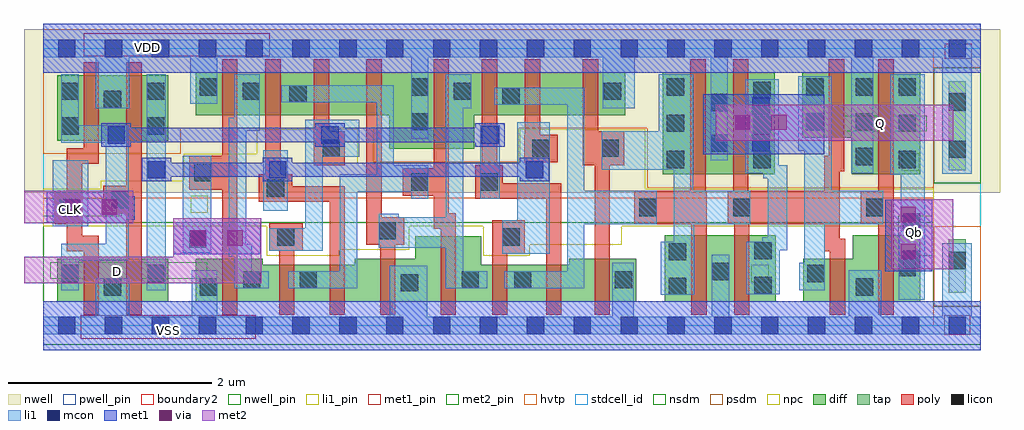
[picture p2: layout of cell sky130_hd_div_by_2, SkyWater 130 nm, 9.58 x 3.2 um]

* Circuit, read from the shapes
.subckt sky130_hd_div_by_2 CLK D Q Qb VDD VSS
XM1 VSS CLK n1 VSS sky130_fd_pr__nfet_01v8 w=0.42 l=0.15
XM2 n2 n1 VSS VSS sky130_fd_pr__nfet_01v8 w=0.42 l=0.15
XM3 n3 D VSS VSS sky130_fd_pr__nfet_01v8 w=0.42 l=0.15
XM4 n4 n1 n3 VSS sky130_fd_pr__nfet_01v8 w=0.36 l=0.15
XM5 n5 n2 n4 VSS sky130_fd_pr__nfet_01v8 w=0.36 l=0.15
XM6 VSS n6 n5 VSS sky130_fd_pr__nfet_01v8 w=0.42 l=0.15
XM7 n6 n4 VSS VSS sky130_fd_pr__nfet_01v8 w=0.64 l=0.15
XM8 n7 n2 n6 VSS sky130_fd_pr__nfet_01v8 w=0.36 l=0.15
XM9 n8 n1 n7 VSS sky130_fd_pr__nfet_01v8 w=0.36 l=0.15
XM10 VSS n9 n8 VSS sky130_fd_pr__nfet_01v8 w=0.42 l=0.15
XM11 VSS n7 n9 VSS sky130_fd_pr__nfet_01v8 w=0.65 l=0.15
XM12 Q n9 VSS VSS sky130_fd_pr__nfet_01v8 w=0.65 l=0.15
XM13 VSS n9 n10 VSS sky130_fd_pr__nfet_01v8 w=0.42 l=0.15
XM14 Qb n10 VSS VSS sky130_fd_pr__nfet_01v8 w=0.65 l=0.15
XM15 VDD CLK n1 VDD sky130_fd_pr__pfet_01v8_hvt w=0.64 l=0.15
XM16 n2 n1 VDD VDD sky130_fd_pr__pfet_01v8_hvt w=0.64 l=0.15
XM17 n3 D VDD VDD sky130_fd_pr__pfet_01v8_hvt w=0.42 l=0.15
XM18 n4 n2 n3 VDD sky130_fd_pr__pfet_01v8_hvt w=0.42 l=0.15
XM19 n11 n1 n4 VDD sky130_fd_pr__pfet_01v8_hvt w=0.42 l=0.15
XM20 VDD n6 n11 VDD sky130_fd_pr__pfet_01v8_hvt w=0.42 l=0.15
XM21 n6 n4 VDD VDD sky130_fd_pr__pfet_01v8_hvt w=0.75 l=0.15
XM22 n7 n1 n6 VDD sky130_fd_pr__pfet_01v8_hvt w=0.42 l=0.15
XM23 n12 n2 n7 VDD sky130_fd_pr__pfet_01v8_hvt w=0.42 l=0.15
XM24 VDD n9 n12 VDD sky130_fd_pr__pfet_01v8_hvt w=0.42 l=0.15
XM25 VDD n7 n9 VDD sky130_fd_pr__pfet_01v8_hvt w=1 l=0.15
XM26 Q n9 VDD VDD sky130_fd_pr__pfet_01v8_hvt w=1 l=0.15
XM27 VDD n9 n10 VDD sky130_fd_pr__pfet_01v8_hvt w=0.64 l=0.15
XM28 Qb n10 VDD VDD sky130_fd_pr__pfet_01v8_hvt w=1 l=0.15
.ends

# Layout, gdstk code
import gdstk
lib = gdstk.Library(unit=1e-6, precision=1e-09)
def R(c, l, rs):  # rectangles x0, y0, x1, y1
    for r in rs: c.add(gdstk.rectangle(r[:2], r[2:], *l))
def A(c, l, x, y, w, h, nx, ny, dx, dy):  # array of equal rectangles
    R(c, l, [(x+i*dx, y+j*dy, x+i*dx+w, y+j*dy+h) for i in range(nx) for j in range(ny)])
def P(c, l, *ps):  # polygons
    for p in ps: c.add(gdstk.Polygon(p, *l))
nwell_pin = (64, 16)
nwell = (64, 20)
diff = (65, 20)
tap = (65, 44)
poly = (66, 20)
licon = (66, 44)
li1_pin = (67, 16)
li1 = (67, 20)
mcon = (67, 44)
met1_pin = (68, 16)
met1 = (68, 20)
via = (68, 44)
met2_pin = (69, 16)
met2 = (69, 20)
hvtp = (78, 44)
stdcell_id = (81, 4)
nsdm = (93, 44)
psdm = (94, 20)
npc = (95, 20)
pwell_pin = (122, 16)
boundary2 = (236, 0)

sky130_hd_tapvpwrvgnd_1 = lib.new_cell('sky130_hd_tapvpwrvgnd_1')
R(sky130_hd_tapvpwrvgnd_1, nwell, [(-0.19,1.305,0.65,2.91)])
R(sky130_hd_tapvpwrvgnd_1, tap, [(0.145,0.32,0.315,0.845), (0.145,1.525,0.315,2.4)])
R(sky130_hd_tapvpwrvgnd_1, licon, [(0.145,0.555,0.315,0.725), (0.145,1.645,0.315,1.815), (0.145,2.11,0.315,2.28)])
R(sky130_hd_tapvpwrvgnd_1, li1, [(0,-0.085,0.46,0.085), (0.085,0,0.375,0.81), (0.085,1.49,0.375,2.72), (0,2.635,0.46,2.805)])
R(sky130_hd_tapvpwrvgnd_1, mcon, [(0.145,-0.085,0.315,0.085), (0.145,2.635,0.315,2.805)])
R(sky130_hd_tapvpwrvgnd_1, met1_pin, [(0.105,-0.09,0.36,0.1), (0.11,2.62,0.375,2.765)])
R(sky130_hd_tapvpwrvgnd_1, met1, [(0,-0.24,0.46,0.24), (0,2.48,0.46,2.96)])
R(sky130_hd_tapvpwrvgnd_1, stdcell_id, [(0,0,0.46,2.72)])
R(sky130_hd_tapvpwrvgnd_1, nsdm, [(0,-0.19,0.46,0.19), (0,1.395,0.46,2.53)])
R(sky130_hd_tapvpwrvgnd_1, psdm, [(0,0.19,0.46,0.975), (0,2.53,0.46,2.91)])
sky130_hd_tapvpwrvgnd_1.add(gdstk.Label('VPWR', (0.23,2.72), layer=68, texttype=5))
sky130_hd_tapvpwrvgnd_1.add(gdstk.Label('VGND', (0.23,0), layer=68, texttype=5))

sky130_hd_dfxbp_1 = lib.new_cell('sky130_hd_dfxbp_1')
R(sky130_hd_dfxbp_1, nwell_pin, [(0.145,2.635,0.315,2.805), (0.145,2.635,0.315,2.805)])
R(sky130_hd_dfxbp_1, nwell, [(-0.19,1.305,8.93,2.91)])
R(sky130_hd_dfxbp_1, diff, [(0.135,0.235,1.225,0.655), (6.1,0.235,7.19,0.885), (6.08,1.485,7.18,2.485), (0.135,1.815,1.225,2.455)])
P(sky130_hd_dfxbp_1, diff, [(7.46,0.235),(7.46,0.655),(7.945,0.655),(7.945,0.885),(8.605,0.885),(8.605,0.235)],
  [(7.935,1.485),(7.935,1.845),(7.45,1.845),(7.45,2.485),(8.605,2.485),(8.605,1.485)],
  [(1.495,0.235),(1.495,0.655),(2.155,0.655),(2.155,0.595),(3.055,0.595),(3.055,0.655),(3.65,0.655),(3.65,0.875),(4.3,0.875),(4.3,0.595),(5.16,0.595),(5.16,0.655),(5.82,0.655),(5.82,0.235)],
  [(3.395,1.735),(3.395,2.065),(1.495,2.065),(1.495,2.485),(5.71,2.485),(5.71,2.065),(4.23,2.065),(4.23,1.735)])
P(sky130_hd_dfxbp_1, poly, [(0.815,0.105),(0.815,1.1),(0.59,1.1),(0.59,1.37),(0.815,1.37),(0.815,2.585),(0.965,2.585),(0.965,0.105)],
  [(1.755,0.105),(1.755,1.335),(1.43,1.335),(1.43,1.665),(1.755,1.665),(1.755,2.615),(1.905,2.615),(1.905,0.105)],
  [(4.935,0.105),(4.935,1.245),(4.24,1.245),(4.24,1.575),(4.305,1.575),(4.305,2.615),(4.455,2.615),(4.455,1.575),(4.51,1.575),(4.51,1.395),(5.085,1.395),(5.085,0.105)],
  [(0.395,0.105),(0.395,0.73),(0.23,0.73),(0.23,0.995),(0.11,0.995),(0.11,1.325),(0.23,1.325),(0.23,1.74),(0.395,1.74),(0.395,2.585),(0.545,2.585),(0.545,1.59),(0.38,1.59),(0.38,0.88),(0.545,0.88),(0.545,0.105)],
  [(4.405,0.105),(4.405,1.035),(4.725,1.035),(4.725,0.705),(4.555,0.705),(4.555,0.105)],
  [(2.655,1.575),(2.655,2.615),(2.805,2.615),(2.805,1.905),(2.96,1.905),(2.96,1.575)],
  [(3.9,0.105),(3.9,0.95),(3.83,0.95),(3.83,1.275),(3.53,1.275),(3.53,1.545),(3.83,1.545),(3.83,2.615),(3.98,2.615),(3.98,1.1),(4.05,1.1),(4.05,0.105)],
  [(5.41,0.105),(5.41,1.575),(5.295,1.575),(5.295,2.615),(5.445,2.615),(5.445,1.905),(5.7,1.905),(5.7,1.575),(5.56,1.575),(5.56,0.105)],
  [(2.81,0.105),(2.81,1.215),(2.115,1.215),(2.115,1.485),(2.18,1.485),(2.18,2.615),(2.33,2.615),(2.33,1.485),(2.445,1.485),(2.445,1.365),(2.96,1.365),(2.96,0.105)],
  [(4.72,1.605),(4.72,1.875),(4.725,1.875),(4.725,2.615),(4.875,2.615),(4.875,1.875),(5.05,1.875),(5.05,1.605)],
  [(3.305,0.105),(3.305,0.795),(3.17,0.795),(3.17,2.615),(3.32,2.615),(3.32,1.065),(3.54,1.065),(3.54,0.795),(3.455,0.795),(3.455,0.105)],
  [(2.315,0.105),(2.315,0.735),(2.215,0.735),(2.215,1.005),(2.545,1.005),(2.545,0.735),(2.465,0.735),(2.465,0.105)],
  [(6.36,0.105),(6.36,0.995),(5.8,0.995),(5.8,1.325),(6.35,1.325),(6.35,2.615),(6.5,2.615),(6.5,1.325),(6.51,1.325),(6.51,0.105)],
  [(8.195,0.105),(8.195,0.995),(8.025,0.995),(8.025,1.325),(8.195,1.325),(8.195,2.615),(8.345,2.615),(8.345,0.105)],
  [(6.78,0.105),(6.78,0.995),(6.72,0.995),(6.72,1.325),(6.77,1.325),(6.77,2.615),(6.92,2.615),(6.92,1.325),(7.665,1.325),(7.665,1.665),(7.71,1.665),(7.71,2.615),(7.86,2.615),(7.86,1.515),(7.815,1.515),(7.815,0.85),(7.87,0.85),(7.87,0.105),(7.72,0.105),(7.72,0.73),(7.665,0.73),(7.665,0.995),(6.93,0.995),(6.93,0.105)])
A(sky130_hd_dfxbp_1, licon, 6.12, 1.545, 0.17, 0.17, 1, 3, 0, 0.355)
A(sky130_hd_dfxbp_1, licon, 6.97, 1.545, 0.17, 0.17, 1, 3, 0, 0.34)
A(sky130_hd_dfxbp_1, licon, 8.395, 1.545, 0.17, 0.17, 1, 3, 0, 0.355)
A(sky130_hd_dfxbp_1, licon, 7.975, 1.575, 0.17, 0.17, 1, 3, 0, 0.34)
R(sky130_hd_dfxbp_1, licon, [(0.595,0.295,0.765,0.465), (1.535,0.295,1.705,0.465), (7.975,0.295,8.145,0.465), (6.14,0.3,6.31,0.47), (6.98,0.31,7.15,0.48), (3.51,0.335,3.68,0.505), (1.96,0.365,2.13,0.535), (2.515,0.365,2.685,0.535), (4.105,0.365,4.275,0.535), (4.62,0.365,4.79,0.535), (5.61,0.365,5.78,0.535), (0.175,0.425,0.345,0.595), (1.015,0.425,1.185,0.595), (7.5,0.425,7.67,0.595), (6.56,0.445,6.73,0.615), (8.395,0.485,8.565,0.655), (6.14,0.64,6.31,0.81), (6.98,0.65,7.15,0.82), (2.295,0.785,2.465,0.955), (4.505,0.785,4.675,0.955), (3.29,0.845,3.46,1.015), (0.16,1.075,0.33,1.245), (5.85,1.075,6.02,1.245), (6.77,1.075,6.94,1.245), (8.075,1.075,8.245,1.245), (0.67,1.15,0.84,1.32), (2.195,1.265,2.365,1.435), (3.61,1.325,3.78,1.495), (4.29,1.325,4.46,1.495), (1.48,1.415,1.65,1.585), (2.74,1.655,2.91,1.825), (4.8,1.655,4.97,1.825), (5.48,1.655,5.65,1.825), (6.55,1.705,6.72,1.875), (0.175,1.875,0.345,2.045), (1.015,1.875,1.185,2.045), (3.61,1.915,3.78,2.085), (7.49,1.915,7.66,2.085), (6.55,2.105,6.72,2.275), (0.595,2.135,0.765,2.305), (4.505,2.165,4.675,2.335), (2.415,2.19,2.585,2.36), (0.175,2.215,0.345,2.385), (1.015,2.215,1.185,2.385), (1.955,2.215,2.125,2.385), (4.03,2.215,4.2,2.385), (5.5,2.215,5.67,2.385), (1.535,2.255,1.705,2.425), (3.61,2.255,3.78,2.425), (7.49,2.255,7.66,2.425)])
R(sky130_hd_dfxbp_1, li1_pin, [(6.95,0.425,7.12,0.595), (0.145,1.105,0.315,1.275), (1.445,1.105,1.615,1.275), (8.425,1.52,8.595,1.69)])
R(sky130_hd_dfxbp_1, li1, [(1.015,0.345,1.2,2.465), (1.37,0.715,1.65,1.665), (0.09,0.975,0.44,1.625), (2.16,1.125,2.4,1.72), (4.29,1.245,4.48,1.965)])
P(sky130_hd_dfxbp_1, li1, [(7.93,1.495),(7.93,2.635),(6.72,2.635),(6.72,1.625),(6.55,1.625),(6.55,2.635),(5.805,2.635),(5.805,2.135),(5.49,2.135),(5.49,2.635),(3.78,2.635),(3.78,1.835),(3.61,1.835),(3.61,2.635),(1.705,2.635),(1.705,2.175),(1.44,2.175),(1.44,2.635),(0.845,2.635),(0.845,2.135),(0.515,2.135),(0.515,2.635),(0,2.635),(0,2.805),(8.74,2.805),(8.74,2.635),(8.145,2.635),(8.145,1.495)],
  [(6.06,0.3),(6.06,0.825),(6.19,0.825),(6.19,1.53),(5.48,1.53),(5.48,1.905),(6.04,1.905),(6.04,2.465),(6.38,2.465),(6.38,1.325),(6.94,1.325),(6.94,0.995),(6.39,0.995),(6.39,0.3)],
  [(4.525,0.365),(4.525,0.535),(5.14,0.535),(5.14,2.165),(4.425,2.165),(4.425,2.335),(5.31,2.335),(5.31,1.325),(6.02,1.325),(6.02,0.995),(5.31,0.995),(5.31,0.365)],
  [(0,-0.085),(0,0.085),(0.515,0.085),(0.515,0.465),(0.845,0.465),(0.845,0.085),(1.455,0.085),(1.455,0.545),(1.705,0.545),(1.705,0.085),(3.4,0.085),(3.4,0.585),(3.77,0.585),(3.77,0.085),(5.585,0.085),(5.585,0.615),(5.795,0.615),(5.795,0.085),(6.56,0.085),(6.56,0.695),(6.73,0.695),(6.73,0.085),(7.905,0.085),(7.905,0.545),(8.225,0.545),(8.225,0.085),(8.74,0.085),(8.74,-0.085)],
  [(4.505,0.705),(4.505,1.035),(4.65,1.035),(4.65,1.995),(4.97,1.995),(4.97,0.705)],
  [(8.395,0.255),(8.395,0.91),(8.415,0.91),(8.415,1.48),(8.315,1.48),(8.315,2.465),(8.65,2.465),(8.65,0.255)],
  [(7.42,0.345),(7.42,0.615),(7.47,0.615),(7.47,1.715),(7.41,1.715),(7.41,2.445),(7.74,2.445),(7.74,1.325),(8.245,1.325),(8.245,0.995),(7.67,0.995),(7.67,0.345)],
  [(3.95,0.365),(3.95,0.765),(3.29,0.765),(3.29,1.095),(3.49,1.095),(3.49,1.065),(3.95,1.065),(3.95,2.465),(4.2,2.465),(4.2,2.135),(4.12,2.135),(4.12,0.535),(4.355,0.535),(4.355,0.365)],
  [(2.405,0.365),(2.405,0.535),(2.91,0.535),(2.91,1.485),(3.27,1.485),(3.27,2.19),(2.335,2.19),(2.335,2.36),(3.44,2.36),(3.44,1.575),(3.78,1.575),(3.78,1.245),(3.61,1.245),(3.61,1.315),(3.08,1.315),(3.08,0.365)],
  [(6.9,0.305),(6.9,0.825),(7.055,0.825),(7.055,0.865),(7.11,0.865),(7.11,1.445),(7.065,1.445),(7.065,1.495),(6.89,1.495),(6.89,2.42),(7.22,2.42),(7.22,1.575),(7.3,1.575),(7.3,0.74),(7.23,0.74),(7.23,0.305)],
  [(2.215,0.735),(2.215,0.955),(2.57,0.955),(2.57,2.02),(3.1,2.02),(3.1,1.655),(2.74,1.655),(2.74,0.735)],
  [(1.875,0.365),(1.875,0.675),(1.82,0.675),(1.82,2.04),(1.875,2.04),(1.875,2.465),(2.125,2.465),(2.125,1.91),(1.99,1.91),(1.99,0.805),(2.045,0.805),(2.045,0.535),(2.21,0.535),(2.21,0.365)],
  [(0.175,0.345),(0.175,0.805),(0.61,0.805),(0.61,1.795),(0.175,1.795),(0.175,2.465),(0.345,2.465),(0.345,1.965),(0.84,1.965),(0.84,0.635),(0.345,0.635),(0.345,0.345)])
A(sky130_hd_dfxbp_1, mcon, 0.145, -0.085, 0.17, 0.17, 19, 2, 0.46, 2.72)
R(sky130_hd_dfxbp_1, mcon, [(1.025,1.445,1.195,1.615), (2.215,1.445,2.385,1.615), (4.735,1.445,4.905,1.615), (0.63,1.785,0.8,1.955), (2.73,1.785,2.9,1.955), (4.3,1.785,4.47,1.955)])
R(sky130_hd_dfxbp_1, met1_pin, [(0.145,-0.085,0.315,0.085), (0.145,2.635,0.315,2.805)])
P(sky130_hd_dfxbp_1, met1, [(0.57,1.755),(0.57,1.985),(0.86,1.985),(0.86,1.94),(2.67,1.94),(2.67,1.985),(2.96,1.985),(2.96,1.94),(4.24,1.94),(4.24,1.985),(4.53,1.985),(4.53,1.755),(4.24,1.755),(4.24,1.8),(2.96,1.8),(2.96,1.755),(2.67,1.755),(2.67,1.8),(0.86,1.8),(0.86,1.755)],
  [(0.965,1.415),(0.965,1.645),(1.255,1.645),(1.255,1.6),(2.155,1.6),(2.155,1.645),(2.445,1.645),(2.445,1.6),(4.675,1.6),(4.675,1.645),(4.965,1.645),(4.965,1.415),(4.675,1.415),(4.675,1.46),(2.445,1.46),(2.445,1.415),(2.155,1.415),(2.155,1.46),(1.255,1.46),(1.255,1.415)])
R(sky130_hd_dfxbp_1, hvtp, [(0,1.25,8.74,2.72)])
R(sky130_hd_dfxbp_1, stdcell_id, [(0,0,8.74,2.72)])
R(sky130_hd_dfxbp_1, nsdm, [(0,-0.19,8.74,1.015)])
P(sky130_hd_dfxbp_1, psdm, [(5.93,1.355),(5.93,1.935),(4.665,1.935),(4.665,1.605),(3.24,1.605),(3.24,1.935),(1.35,1.935),(1.35,1.685),(0,1.685),(0,2.91),(8.74,2.91),(8.74,1.355)])
P(sky130_hd_dfxbp_1, npc, [(2.195,0.685),(2.195,0.975),(0,0.975),(0,1.345),(0.565,1.345),(0.565,1.42),(1.38,1.42),(1.38,1.685),(2.095,1.685),(2.095,1.925),(3.085,1.925),(3.085,1.595),(4.675,1.595),(4.675,1.925),(5.91,1.925),(5.91,1.345),(8.74,1.345),(8.74,0.975),(5.675,0.975),(5.675,0.795),(4.775,0.795),(4.775,0.685),(4.32,0.685),(4.32,0.975),(3.59,0.975),(3.59,0.745),(2.905,0.745),(2.905,0.685)])
R(sky130_hd_dfxbp_1, pwell_pin, [(0.145,-0.085,0.315,0.085), (0.145,-0.085,0.315,0.085)])
R(sky130_hd_dfxbp_1, boundary2, [(0,0,8.74,2.72)])
sky130_hd_dfxbp_1.add(gdstk.FlexPath([(0,0),(8.74,0)], 0.48, ends="flush", simple_path=True, layer=68, datatype=20))  # met1
sky130_hd_dfxbp_1.add(gdstk.FlexPath([(0,2.72),(8.74,2.72)], 0.48, ends="flush", simple_path=True, layer=68, datatype=20))  # met1
sky130_hd_dfxbp_1.add(gdstk.Label('VPWR', (0.23,2.72), layer=68, texttype=5))
sky130_hd_dfxbp_1.add(gdstk.Label('VGND', (0.23,0), layer=68, texttype=5))
sky130_hd_dfxbp_1.add(gdstk.Label('Q', (7.035,0.51), layer=67, texttype=5))
sky130_hd_dfxbp_1.add(gdstk.Label('CLK', (0.23,1.19), layer=67, texttype=5))
sky130_hd_dfxbp_1.add(gdstk.Label('D', (1.535,1.19), layer=67, texttype=5))
sky130_hd_dfxbp_1.add(gdstk.Label('Q_N', (8.52,1.61), layer=67, texttype=5))
sky130_hd_dfxbp_1.add(gdstk.Label('VNB', (0.23,0), layer=64, texttype=59))
sky130_hd_dfxbp_1.add(gdstk.Label('VNB', (0.23,0), layer=64, texttype=59))
sky130_hd_dfxbp_1.add(gdstk.Label('VPB', (0.23,2.72), layer=64, texttype=5))
sky130_hd_dfxbp_1.add(gdstk.Label('VPB', (0.23,2.72), layer=64, texttype=5))
sky130_hd_dfxbp_1.add(gdstk.Label('dfxbp_1', (0,0), layer=83, texttype=44))

sky130_hd_div_by_2 = lib.new_cell('sky130_hd_div_by_2')
R(sky130_hd_div_by_2, mcon, [(7.385,0.355,7.555,0.525), (0.38,0.555,0.55,0.725), (7.385,0.72,7.555,0.89), (-0.86,0.86,-0.69,1.03), (5.91,1.5,6.08,1.67), (5.91,1.86,6.08,2.03)])
R(sky130_hd_div_by_2, met1_pin, [(-0.685,-0.34,1.035,-0.11), (-0.655,2.435,1.17,2.66)])
R(sky130_hd_div_by_2, met1, [(7.215,0.325,7.675,0.34), (0.225,0.49,1.085,0.805), (7.215,0.54,7.675,1.025), (-1.015,0.795,-0.235,1.1), (5.425,1.7,6.615,1.85), (5.425,2.045,6.615,2.06)])
R(sky130_hd_div_by_2, via, [(7.365,0.445,7.515,0.595), (0.395,0.575,0.545,0.725), (0.755,0.575,0.905,0.725), (7.365,0.805,7.515,0.955), (-0.835,0.88,-0.685,1.03), (-0.475,0.88,-0.325,1.03), (5.735,1.71,5.885,1.86), (6.095,1.71,6.245,1.86)])
R(sky130_hd_div_by_2, met2_pin, [(-0.98,0.25,0.56,0.41), (7.34,0.475,7.675,0.87), (-1.05,0.865,-0.28,1.04), (6.78,1.695,7.62,1.85)])
R(sky130_hd_div_by_2, met2, [(-1.24,0.205,1.09,0.465), (7.275,0.345,7.88,1.03), (0.225,0.465,1.09,0.575), (0.225,0.575,1.09,0.845), (-1.24,0.795,-0.17,1.115), (5.55,1.605,7.88,1.955)])
sky130_hd_div_by_2.add(gdstk.FlexPath([(5.425,1.585),(6.615,1.585)], 0.23, ends="flush", simple_path=True, layer=68, datatype=20))  # met1
sky130_hd_div_by_2.add(gdstk.FlexPath([(5.425,1.945),(6.615,1.945)], 0.2, ends="flush", simple_path=True, layer=68, datatype=20))  # met1
sky130_hd_div_by_2.add(gdstk.FlexPath([(7.215,0.44),(7.675,0.44)], 0.2, ends="flush", simple_path=True, layer=68, datatype=20))  # met1
sky130_hd_div_by_2.add(gdstk.FlexPath([(0.225,0.64),(1.085,0.64)], 0.23, ends="flush", simple_path=True, layer=68, datatype=20))  # met1
sky130_hd_div_by_2.add(gdstk.FlexPath([(-1.015,0.945),(-0.155,0.945)], 0.23, ends="flush", simple_path=True, layer=68, datatype=20))  # met1
sky130_hd_div_by_2.add(gdstk.Reference(sky130_hd_tapvpwrvgnd_1, (7.69,-0.21)))
sky130_hd_div_by_2.add(gdstk.Reference(sky130_hd_dfxbp_1, (-1.05,-0.21)))
sky130_hd_div_by_2.add(gdstk.Label('VSS', (0.175,-0.255), layer=68, texttype=5))
sky130_hd_div_by_2.add(gdstk.Label('VDD', (-0.025,2.52), layer=68, texttype=5))
sky130_hd_div_by_2.add(gdstk.Label('D', (-0.32,0.325), layer=69, texttype=5))
sky130_hd_div_by_2.add(gdstk.Label('CLK', (-0.78,0.93), layer=69, texttype=5))
sky130_hd_div_by_2.add(gdstk.Label('Qb', (7.5,0.7), layer=69, texttype=5))
sky130_hd_div_by_2.add(gdstk.Label('Q', (7.17,1.775), layer=69, texttype=5))

lib.write_gds('sky130_hd_div_by_2.gds')
